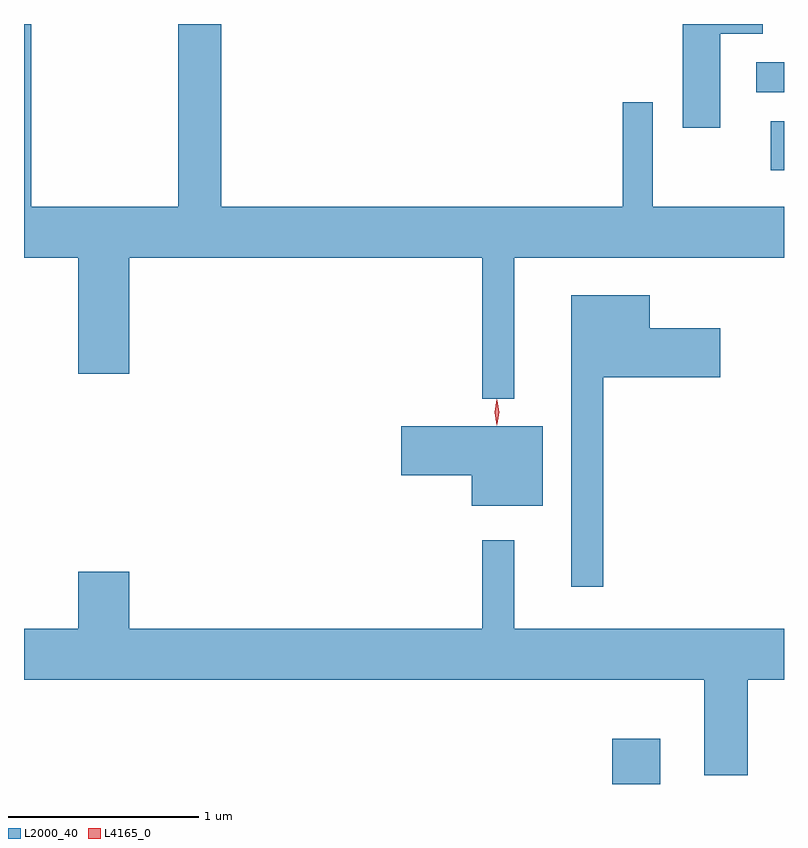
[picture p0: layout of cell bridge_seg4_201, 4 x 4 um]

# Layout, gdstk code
import gdstk
lib = gdstk.Library(unit=1e-6, precision=1e-09)
def R(c, l, rs):  # rectangles x0, y0, x1, y1
    for r in rs: c.add(gdstk.rectangle(r[:2], r[2:], *l))
def P(c, l, *ps):  # polygons
    for p in ps: c.add(gdstk.Polygon(p, *l))
L2000_40 = (2000, 40)
L4165_0 = (4165, 0)

bridge_seg4_201 = lib.new_cell('bridge_seg4_201')
R(bridge_seg4_201, L2000_40, [(1136.966,1263.106,1137.219,1263.344), (1137.801,1266.336,1137.87,1266.594), (1137.723,1266.746,1137.87,1266.904)])
P(bridge_seg4_201, L2000_40, [(1133.909,1267.106),(1133.87,1267.106),(1133.87,1265.876),(1134.156,1265.876),(1134.156,1265.266),(1134.424,1265.266),(1134.424,1265.876),(1136.281,1265.876),(1136.281,1265.133),(1136.449,1265.133),(1136.449,1265.876),(1137.87,1265.876),(1137.87,1266.144),(1137.179,1266.144),(1137.179,1266.693),(1137.021,1266.693),(1137.021,1266.144),(1134.909,1266.144),(1134.909,1267.106),(1134.681,1267.106),(1134.681,1266.144),(1133.909,1266.144)],
  [(1137.534,1267.056),(1137.759,1267.056),(1137.759,1267.106),(1137.336,1267.106),(1137.336,1266.561),(1137.534,1266.561)],
  [(1136.919,1265.246),(1137.534,1265.246),(1137.534,1265.504),(1137.164,1265.504),(1137.164,1265.679),(1136.751,1265.679),(1136.751,1264.143),(1136.919,1264.143)],
  [(1136.599,1264.989),(1135.856,1264.989),(1135.856,1264.731),(1136.226,1264.731),(1136.226,1264.571),(1136.599,1264.571)],
  [(1137.679,1263.656),(1137.87,1263.656),(1137.87,1263.924),(1136.449,1263.924),(1136.449,1264.388),(1136.281,1264.388),(1136.281,1263.924),(1134.424,1263.924),(1134.424,1264.224),(1134.156,1264.224),(1134.156,1263.924),(1133.87,1263.924),(1133.87,1263.656),(1137.451,1263.656),(1137.451,1263.151),(1137.679,1263.151)])
P(bridge_seg4_201, L4165_0, [(1136.361,1265),(1136.352,1265.063),(1136.361,1265.126),(1136.362,1265.127),(1136.362,1265.126),(1136.372,1265.063),(1136.362,1265),(1136.362,1265)],
  [(1136.358,1264.994),(1136.358,1264.994),(1136.348,1265.062),(1136.358,1265.13),(1136.358,1265.13),(1136.359,1265.13),(1136.368,1265.062),(1136.359,1264.994)])

lib.write_gds('bridge_seg4_201.gds')
